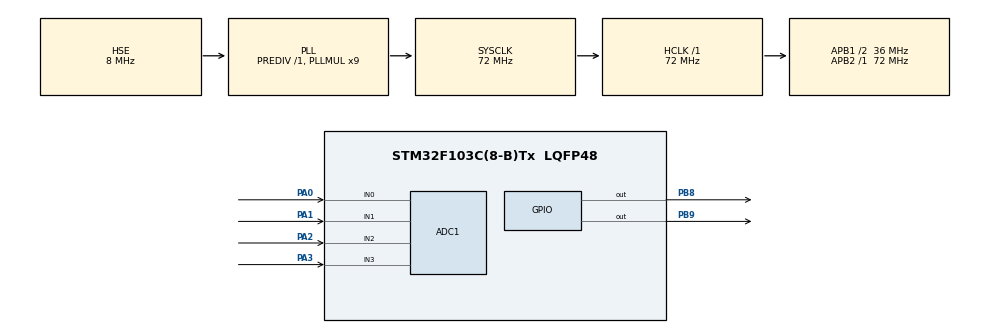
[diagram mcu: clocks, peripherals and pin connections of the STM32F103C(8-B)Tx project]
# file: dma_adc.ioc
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ADC1.Channel-0\#ChannelRegularConversion=ADC_CHANNEL_0
ADC1.Channel-1\#ChannelRegularConversion=ADC_CHANNEL_1
ADC1.Channel-2\#ChannelRegularConversion=ADC_CHANNEL_2
ADC1.Channel-3\#ChannelRegularConversion=ADC_CHANNEL_3
ADC1.ContinuousConvMode=ENABLE
ADC1.NbrOfConversion=4
ADC1.NbrOfConversionFlag=1
ADC1.Rank-0\#ChannelRegularConversion=1
ADC1.Rank-1\#ChannelRegularConversion=2
ADC1.Rank-2\#ChannelRegularConversion=3
ADC1.Rank-3\#ChannelRegularConversion=4
ADC1.SamplingTime-0\#ChannelRegularConversion=ADC_SAMPLETIME_55CYCLES_5
ADC1.SamplingTime-1\#ChannelRegularConversion=ADC_SAMPLETIME_55CYCLES_5
ADC1.SamplingTime-2\#ChannelRegularConversion=ADC_SAMPLETIME_55CYCLES_5
ADC1.SamplingTime-3\#ChannelRegularConversion=ADC_SAMPLETIME_55CYCLES_5
ADC1.master=1
Dma.ADC1.0.Direction=DMA_PERIPH_TO_MEMORY
Dma.ADC1.0.Instance=DMA1_Channel1
Dma.ADC1.0.MemDataAlignment=DMA_MDATAALIGN_HALFWORD
Dma.ADC1.0.MemInc=DMA_MINC_ENABLE
Dma.ADC1.0.Mode=DMA_CIRCULAR
Dma.ADC1.0.PeriphDataAlignment=DMA_PDATAALIGN_HALFWORD
Dma.ADC1.0.PeriphInc=DMA_PINC_DISABLE
Dma.ADC1.0.Priority=DMA_PRIORITY_LOW
Dma.Request0=ADC1
Mcu.Family=STM32F1
Mcu.Name=STM32F103C(8-B)Tx
Mcu.Package=LQFP48
NVIC.DMA1_Channel1_IRQn=true\:0\:0\:false\:false\:true\:false\:true\:true
NVIC.PriorityGroup=NVIC_PRIORITYGROUP_4
PA0-WKUP.Signal=ADCx_IN0
PA1.Signal=ADCx_IN1
PA13.Mode=Serial_Wire
PA13.Signal=SYS_JTMS-SWDIO
PA14.Mode=Serial_Wire
PA14.Signal=SYS_JTCK-SWCLK
PA2.Signal=ADCx_IN2
PA3.Signal=ADCx_IN3
PB8.GPIO_ModeDefaultOutputPP=GPIO_MODE_OUTPUT_OD
PB8.GPIO_PuPd=GPIO_NOPULL
PB8.Signal=GPIO_Output
PB9.GPIO_ModeDefaultOutputPP=GPIO_MODE_OUTPUT_OD
PB9.GPIO_PuPd=GPIO_NOPULL
PB9.Signal=GPIO_Output
PD0-OSC_IN.Mode=HSE-External-Oscillator
PD0-OSC_IN.Signal=RCC_OSC_IN
PD1-OSC_OUT.Mode=HSE-External-Oscillator
PD1-OSC_OUT.Signal=RCC_OSC_OUT
ProjectManager.HeapSize=0x200
ProjectManager.StackSize=0x400
ProjectManager.TargetToolchain=CMake
RCC.ADCPresc=RCC_ADCPCLK2_DIV6
RCC.AHBFreq_Value=72000000
RCC.APB1CLKDivider=RCC_HCLK_DIV2
RCC.APB1Freq_Value=36000000
RCC.APB1TimFreq_Value=72000000
RCC.APB2Freq_Value=72000000
RCC.APB2TimFreq_Value=72000000
RCC.HCLKFreq_Value=72000000
RCC.PLLMUL=RCC_PLL_MUL9
RCC.PLLSourceVirtual=RCC_PLLSOURCE_HSE
RCC.SYSCLKFreq_VALUE=72000000
RCC.SYSCLKSource=RCC_SYSCLKSOURCE_PLLCLK
RCC.USBFreq_Value=72000000
SH.ADCx_IN0.0=ADC1_IN0,IN0
SH.ADCx_IN1.0=ADC1_IN1,IN1
SH.ADCx_IN2.0=ADC1_IN2,IN2
SH.ADCx_IN3.0=ADC1_IN3,IN3
board=custom

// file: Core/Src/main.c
/* USER CODE BEGIN Header */
/**
  ******************************************************************************
  * @file           : main.c
  * @brief          : Main program body
  ******************************************************************************
  * @attention
  *
  * Copyright (c) 2026 STMicroelectronics.
  * All rights reserved.
  *
  * This software is licensed under terms that can be found in the LICENSE file
  * in the root directory of this software component.
  * If no LICENSE file comes with this software, it is provided AS-IS.
  *
  ******************************************************************************
  */
/* USER CODE END Header */
#include "main.h"
#include "adc.h"
#include "dma.h"
#include "gpio.h"

/* USER CODE BEGIN Includes */
#include "OLED.h"
#include "stm32f1xx_hal.h"
#include "stm32f1xx_hal_adc.h"
#include "stm32f1xx_hal_adc_ex.h"
#include <stdint.h>
/* USER CODE END Includes */

/* USER CODE BEGIN PV */
uint16_t value[4];
/* USER CODE END PV */

void SystemClock_Config(void);

int main(void)
{

  /* MCU Configuration--------------------------------------------------------*/

  /* Reset of all peripherals, Initializes the Flash interface and the Systick. */
  HAL_Init();

  /* Configure the system clock */
  SystemClock_Config();

  /* Initialize all configured peripherals */
  MX_GPIO_Init();
  MX_DMA_Init();
  MX_ADC1_Init();
  /* USER CODE BEGIN 2 */
  OLED_Init();
  HAL_ADCEx_Calibration_Start(&hadc1);
  OLED_Clear();
  HAL_ADC_Start_DMA(&hadc1, (uint32_t*)value, 4);
  /* USER CODE END 2 */

  /* Infinite loop */
  /* USER CODE BEGIN WHILE */
  while (1)
  {
    OLED_ShowNum(1, 1, value[0], 5);
    OLED_ShowNum(2, 1, value[1], 5);
    OLED_ShowNum(3, 1, value[2], 5);
    OLED_ShowNum(4, 1, value[3], 5);
    HAL_Delay(1000);
    /* USER CODE END WHILE */

  }
}

void SystemClock_Config(void)
{
  RCC_OscInitTypeDef RCC_OscInitStruct = {0};
  RCC_ClkInitTypeDef RCC_ClkInitStruct = {0};
  RCC_PeriphCLKInitTypeDef PeriphClkInit = {0};

  /** Initializes the RCC Oscillators according to the specified parameters
  * in the RCC_OscInitTypeDef structure.
  */
  RCC_OscInitStruct.OscillatorType = RCC_OSCILLATORTYPE_HSE;
  RCC_OscInitStruct.HSEState = RCC_HSE_ON;
  RCC_OscInitStruct.HSEPredivValue = RCC_HSE_PREDIV_DIV1;
  RCC_OscInitStruct.HSIState = RCC_HSI_ON;
  RCC_OscInitStruct.PLL.PLLState = RCC_PLL_ON;
  RCC_OscInitStruct.PLL.PLLSource = RCC_PLLSOURCE_HSE;
  RCC_OscInitStruct.PLL.PLLMUL = RCC_PLL_MUL9;
  if (HAL_RCC_OscConfig(&RCC_OscInitStruct) != HAL_OK)
  {
    Error_Handler();
  }

  /** Initializes the CPU, AHB and APB buses clocks
  */
  RCC_ClkInitStruct.ClockType = RCC_CLOCKTYPE_HCLK|RCC_CLOCKTYPE_SYSCLK
                              |RCC_CLOCKTYPE_PCLK1|RCC_CLOCKTYPE_PCLK2;
  RCC_ClkInitStruct.SYSCLKSource = RCC_SYSCLKSOURCE_PLLCLK;
  RCC_ClkInitStruct.AHBCLKDivider = RCC_SYSCLK_DIV1;
  RCC_ClkInitStruct.APB1CLKDivider = RCC_HCLK_DIV2;
  RCC_ClkInitStruct.APB2CLKDivider = RCC_HCLK_DIV1;

  if (HAL_RCC_ClockConfig(&RCC_ClkInitStruct, FLASH_LATENCY_2) != HAL_OK)
  {
    Error_Handler();
  }
  PeriphClkInit.PeriphClockSelection = RCC_PERIPHCLK_ADC;
  PeriphClkInit.AdcClockSelection = RCC_ADCPCLK2_DIV6;
  if (HAL_RCCEx_PeriphCLKConfig(&PeriphClkInit) != HAL_OK)
  {
    Error_Handler();
  }
}

void Error_Handler(void)
{
  __disable_irq();
  while (1)
  {
  }
}
